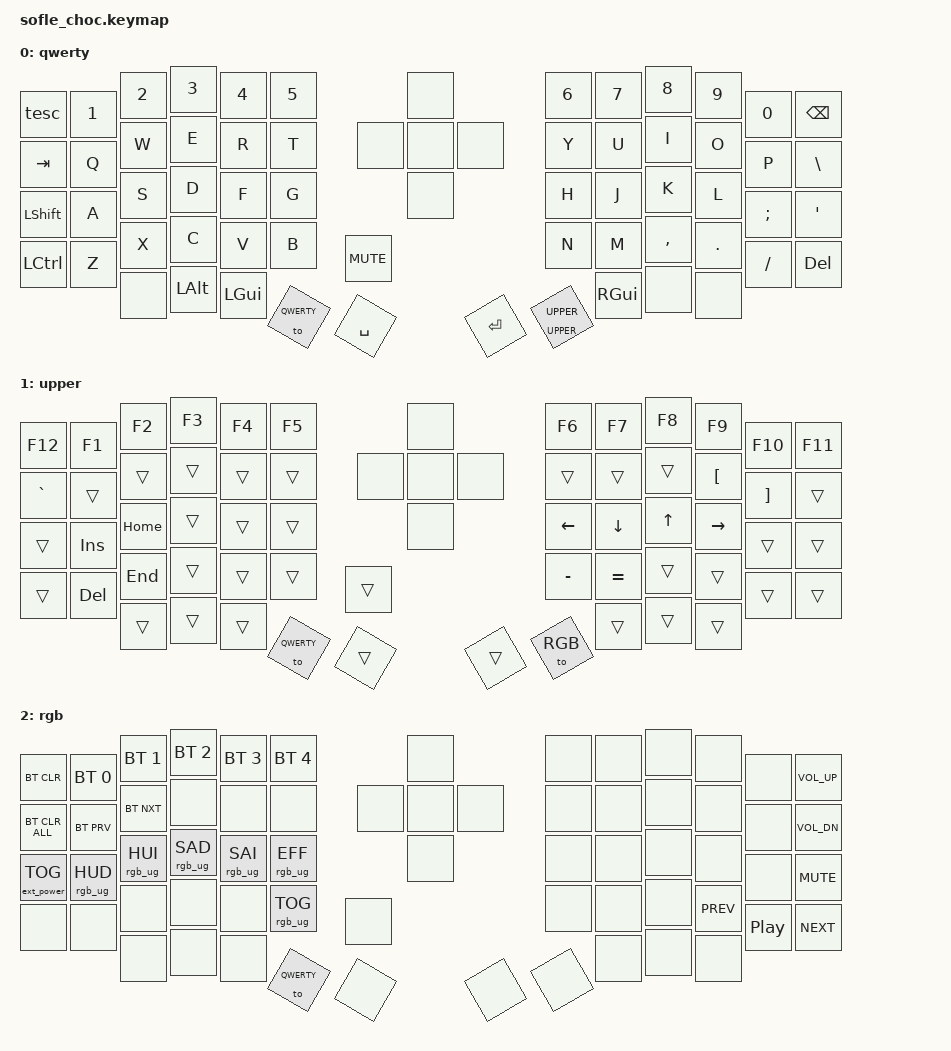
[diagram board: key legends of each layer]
// clang-format off
/*
 * Copyright (c) 2020 The ZMK Contributors
 *
 * SPDX-License-Identifier: MIT
 */

#include <behaviors.dtsi>
#include <dt-bindings/zmk/keys.h>
#include <dt-bindings/zmk/bt.h>
#include <dt-bindings/zmk/rgb.h>
#include <dt-bindings/zmk/ext_power.h>

#define QWERTY 0
#define UPPER 1
#define RGB 2


/ {


    behaviors {
        tesc: tilde_escape {
            compatible = "zmk,behavior-mod-morph";
            #binding-cells = <0>;
            bindings = <&kp ESC>, <&kp TILDE>;
            mods = <(MOD_LSFT|MOD_RSFT)>;
        };

        mo_tog: behavior_mo_tog {
            compatible = "zmk,behavior-hold-tap";
            #binding-cells = <2>;
            tapping-term-ms = <200>;
            flavor = "hold-preferred";
            bindings = <&mo>, <&tog>;
        };
    };

    keymap {
        compatible = "zmk,keymap";

        qwerty {
            display-name = "qwerty";
            bindings = <
//    ┌───────┬─────┬──────┬──────┬───────────┬─────┐   ┌─────┐   ┌─────┬────────────────────┬──────┬─────┬─────┬──────┐
//    │ &tesc │  1  │  2   │  3   │     4     │  5  │   │     │   │  6  │         7          │  8   │  9  │  0  │ bspc │
//    ├───────┼─────┼──────┼──────┼───────────┼─────┤   ├─────┤   ├─────┼────────────────────┼──────┼─────┼─────┼──────┤
//    │  tab  │  Q  │  W   │  E   │     R     │  T  │   │     │   │  Y  │         U          │  I   │  O  │  P  │  \   │
//    ├───────┼─────┼──────┼──────┼───────────┼─────┤   ├─────┤   ├─────┼────────────────────┼──────┼─────┼─────┼──────┤
//    │ lsft  │  A  │  S   │  D   │     F     │  G  │   │     │   │  H  │         J          │  K   │  L  │  ;  │  '   │
//    ├───────┼─────┼──────┼──────┼───────────┼─────┤   ├─────┤   ├─────┼────────────────────┼──────┼─────┼─────┼──────┤
//    │ lctl  │  Z  │  X   │  C   │     V     │  B  │   │     │   │  N  │         M          │  ,   │  .  │  /  │ del  │
//    ├───────┼─────┼──────┼──────┼───────────┼─────┤   ├─────┤   ├─────┼────────────────────┼──────┼─────┼─────┼──────┘
//    │ mute  │     │ lalt │ lgui │ to QWERTY │ spc │   │     │   │ ent │ mo_tog upPER upPER │ rgui │     │     │
//    └───────┴─────┴──────┴──────┴───────────┴─────┘   └─────┘   └─────┴────────────────────┴──────┴─────┴─────┘
  &tesc        &kp N1   &kp N2     &kp N3     &kp N4       &kp N5          &none       &kp N6    &kp N7                &kp N8      &kp N9    &kp N0     &kp BSPC
  &kp TAB      &kp Q    &kp W      &kp E      &kp R        &kp T           &none       &kp Y     &kp U                 &kp I       &kp O     &kp P      &kp BACKSLASH
  &kp LSHFT    &kp A    &kp S      &kp D      &kp F        &kp G           &none       &kp H     &kp J                 &kp K       &kp L     &kp SEMI   &kp SQT
  &kp LCTRL    &kp Z    &kp X      &kp C      &kp V        &kp B           &none       &kp N     &kp M                 &kp COMMA   &kp DOT   &kp FSLH   &kp DELETE
  &kp C_MUTE   &none    &kp LALT   &kp LGUI   &to QWERTY   &kp SPACE       &none       &kp RET   &mo_tog UPPER UPPER   &kp RGUI    &none     &none
            >;

            // sensor-bindings = <&inc_dec_kp C_VOL_UP C_VOL_DN &inc_dec_kp PG_UP PG_DN>;
        };

        upper {
            display-name = "upper";
            bindings = <
//    ┌─────┬─────┬──────┬─────┬───────────┬─────┐   ┌─────┐   ┌──────┬──────────┬─────┬──────┬─────┬─────┐
//    │ f12 │ f1  │  f2  │ f3  │    f4     │ f5  │   │     │   │  f6  │    f7    │ f8  │  f9  │ f10 │ f11 │
//    ├─────┼─────┼──────┼─────┼───────────┼─────┤   ├─────┤   ├──────┼──────────┼─────┼──────┼─────┼─────┤
//    │  `  │     │      │     │           │     │   │     │   │      │          │     │  [   │  ]  │     │
//    ├─────┼─────┼──────┼─────┼───────────┼─────┤   ├─────┤   ├──────┼──────────┼─────┼──────┼─────┼─────┤
//    │     │ ins │ home │     │           │     │   │     │   │ left │   down   │ up  │ rght │     │     │
//    ├─────┼─────┼──────┼─────┼───────────┼─────┤   ├─────┤   ├──────┼──────────┼─────┼──────┼─────┼─────┤
//    │     │ del │ end  │     │           │     │   │     │   │  -   │    =     │     │      │     │     │
//    ├─────┼─────┼──────┼─────┼───────────┼─────┤   ├─────┤   ├──────┼──────────┼─────┼──────┼─────┼─────┘
//    │     │     │      │     │ to QWERTY │     │   │     │   │      │ to rguiB │     │      │     │
//    └─────┴─────┴──────┴─────┴───────────┴─────┘   └─────┘   └──────┴──────────┴─────┴──────┴─────┘
  &kp F12     &kp F1       &kp F2     &kp F3   &kp F4       &kp F5       &none       &kp F6      &kp F7      &kp F8   &kp F9      &kp F10    &kp F11
  &kp GRAVE   &trans       &trans     &trans   &trans       &trans       &none       &trans      &trans      &trans   &kp LBKT    &kp RBKT   &trans
  &trans      &kp INSERT   &kp HOME   &trans   &trans       &trans       &none       &kp LEFT    &kp DOWN    &kp UP   &kp RIGHT   &trans     &trans
  &trans      &kp DEL      &kp END    &trans   &trans       &trans       &none       &kp MINUS   &kp EQUAL   &trans   &trans      &trans     &trans
  &trans      &trans       &trans     &trans   &to QWERTY   &trans       &none       &trans      &to RGB     &trans   &trans      &trans
            >;

            // sensor-bindings = <&inc_dec_kp C_VOL_UP C_VOL_DN &inc_dec_kp PG_UP PG_DN>;
        };


        rgb {
            display-name = "rgb";
            bindings = <
//    ┌────────────┬──────────┬──────────┬──────────┬───────────┬──────────┐   ┌─────┐   ┌─────┬─────┬─────┬──────┬──────┬──────┐
//    │   bt_clr   │ bt_sel 0 │ bt_sel 1 │ bt_sel 2 │ bt_sel 3  │ bt_sel 4 │   │     │   │     │     │     │      │      │ volu │
//    ├────────────┼──────────┼──────────┼──────────┼───────────┼──────────┤   ├─────┤   ├─────┼─────┼─────┼──────┼──────┼──────┤
//    │ bt_clr_ALL │  bt_prv  │  bt_nxt  │          │           │          │   │     │   │     │     │     │      │      │ vold │
//    ├────────────┼──────────┼──────────┼──────────┼───────────┼──────────┤   ├─────┤   ├─────┼─────┼─────┼──────┼──────┼──────┤
//    │ epwr_ tog  │ ug_ hu-  │ ug_ hu+  │ ug_ sa-  │  ug_ sa+  │ ug_ eff  │   │     │   │     │     │     │      │      │ mute │
//    ├────────────┼──────────┼──────────┼──────────┼───────────┼──────────┤   ├─────┤   ├─────┼─────┼─────┼──────┼──────┼──────┤
//    │            │          │          │          │           │ ug_ tog  │   │     │   │     │     │     │ prev │ play │ next │
//    ├────────────┼──────────┼──────────┼──────────┼───────────┼──────────┤   ├─────┤   ├─────┼─────┼─────┼──────┼──────┼──────┘
//    │            │          │          │          │ to QWERTY │          │   │     │   │     │     │     │      │      │
//    └────────────┴──────────┴──────────┴──────────┴───────────┴──────────┘   └─────┘   └─────┴─────┴─────┴──────┴──────┘
  &bt BT_CLR          &bt BT_SEL 0      &bt BT_SEL 1      &bt BT_SEL 2      &bt BT_SEL 3      &bt BT_SEL 4          &none       &none   &none   &none   &none        &none      &kp C_VOL_UP
  &bt BT_CLR_ALL      &bt BT_PRV        &bt BT_NXT        &none             &none             &none                 &none       &none   &none   &none   &none        &none      &kp C_VOL_DN
  &ext_power EP_TOG   &rgb_ug RGB_HUD   &rgb_ug RGB_HUI   &rgb_ug RGB_SAD   &rgb_ug RGB_SAI   &rgb_ug RGB_EFF       &none       &none   &none   &none   &none        &none      &kp C_MUTE
  &none               &none             &none             &none             &none             &rgb_ug RGB_TOG       &none       &none   &none   &none   &kp C_PREV   &kp C_PP   &kp C_NEXT
  &none               &none             &none             &none             &to QWERTY        &none                 &none       &none   &none   &none   &none        &none
            >;
        };

    };
};
